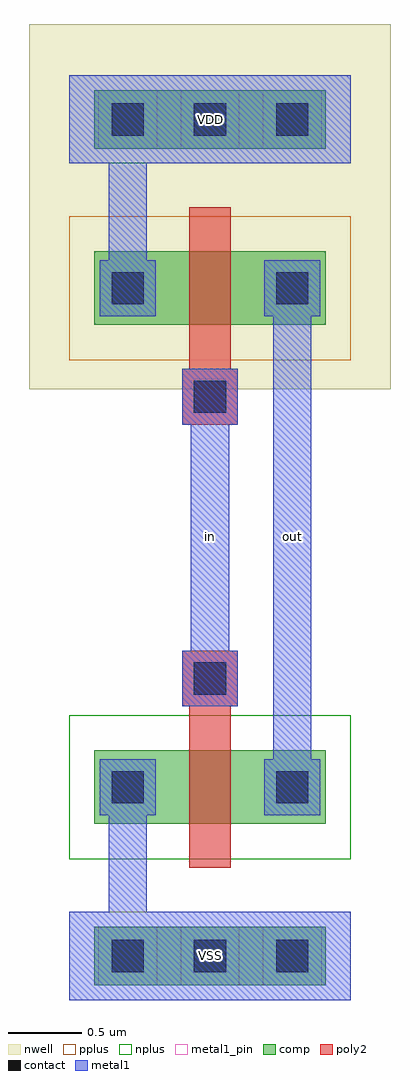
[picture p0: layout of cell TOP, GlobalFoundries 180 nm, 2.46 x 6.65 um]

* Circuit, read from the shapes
.subckt TOP VDD VSS in out
XM1 out in VSS VSS nfet_03v3 w=0.5u l=0.28u
XM2 out in VDD VDD pfet_03v3 w=0.5u l=0.28u
.ends

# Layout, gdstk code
import gdstk
lib = gdstk.Library(unit=1e-6, precision=5e-09)
def R(c, l, rs):  # rectangles x0, y0, x1, y1
    for r in rs: c.add(gdstk.rectangle(r[:2], r[2:], *l))
def A(c, l, x, y, w, h, nx, ny, dx, dy):  # array of equal rectangles
    R(c, l, [(x+i*dx, y+j*dy, x+i*dx+w, y+j*dy+h) for i in range(nx) for j in range(ny)])
nwell = (21, 0)
comp = (22, 0)
poly2 = (30, 0)
pplus = (31, 0)
nplus = (32, 0)
contact = (33, 0)
metal1 = (34, 0)
metal1_pin = (34, 10)

pfet = lib.new_cell('pfet')
R(pfet, nwell, [(-0.9,-0.44,1.56,0.94)])
R(pfet, comp, [(-0.46,0,0,0.5), (0,0,0.66,0.5), (0.66,0,1.12,0.5)])
R(pfet, poly2, [(0.14,-0.68,0.52,-0.3), (0.19,-0.3,0.47,0.8)])
R(pfet, pplus, [(-0.63,-0.24,1.29,0.74)])
R(pfet, contact, [(0.22,-0.6,0.44,-0.38), (-0.34,0.14,-0.12,0.36), (0.78,0.14,1,0.36)])
R(pfet, metal1, [(0.14,-0.68,0.52,-0.3), (-0.42,0.06,-0.04,0.44), (0.7,0.06,1.08,0.44)])

top = lib.new_cell('TOP')
R(top, nwell, [(1.52,5.56,3.98,6.67)])
R(top, comp, [(1.96,0.12,3.54,0.52), (1.96,1.22,2.42,1.72), (1.96,1.22,3.54,1.72), (3.08,1.22,3.54,1.72), (1.96,5.82,3.54,6.22)])
R(top, poly2, [(2.61,0.92,2.89,2.02), (2.56,2.02,2.94,2.4)])
R(top, pplus, [(1.79,0.02,3.71,0.62)])
R(top, nplus, [(1.79,0.98,3.71,1.96), (1.79,5.72,3.71,6.32)])
A(top, contact, 2.08, 0.21, 0.22, 0.22, 3, 2, 0.56, 5.7)
R(top, contact, [(2.08,1.36,2.3,1.58), (3.2,1.36,3.42,1.58), (2.64,2.1,2.86,2.32)])
R(top, metal1, [(2,1.28,2.38,1.66), (3.12,1.28,3.5,1.66), (2.56,2.02,2.94,2.4)])
A(top, metal1_pin, 1.99, 0.12, 0.4, 0.4, 3, 2, 0.56, 5.7)
top.add(gdstk.FlexPath([(3.31,5.06),(3.31,1.28)], 0.26, ends="flush", simple_path=True, layer=34, datatype=0))  # metal1
top.add(gdstk.FlexPath([(1.79,6.02),(3.71,6.02)], 0.6, ends="flush", simple_path=True, layer=34, datatype=0))  # metal1
top.add(gdstk.FlexPath([(2.19,4.68),(2.19,5.72)], 0.26, ends="flush", simple_path=True, layer=34, datatype=0))  # metal1
top.add(gdstk.FlexPath([(2.75,4.32),(2.75,2.02)], 0.26, ends="flush", simple_path=True, layer=34, datatype=0))  # metal1
top.add(gdstk.FlexPath([(1.79,0.32),(3.71,0.32)], 0.6, ends="flush", simple_path=True, layer=34, datatype=0))  # metal1
top.add(gdstk.FlexPath([(2.19,0.62),(2.19,1.66)], 0.26, ends="flush", simple_path=True, layer=34, datatype=0))  # metal1
top.add(gdstk.Reference(pfet, (2.42,4.62)))
top.add(gdstk.Label('out', (3.31,3.18), layer=34, texttype=10))
top.add(gdstk.Label('in', (2.75,3.18), layer=34, texttype=10))
top.add(gdstk.Label('VDD', (2.75,6.02), layer=34, texttype=10))
top.add(gdstk.Label('VSS', (2.75,0.32), layer=34, texttype=10))

lib.write_gds('TOP.gds')
